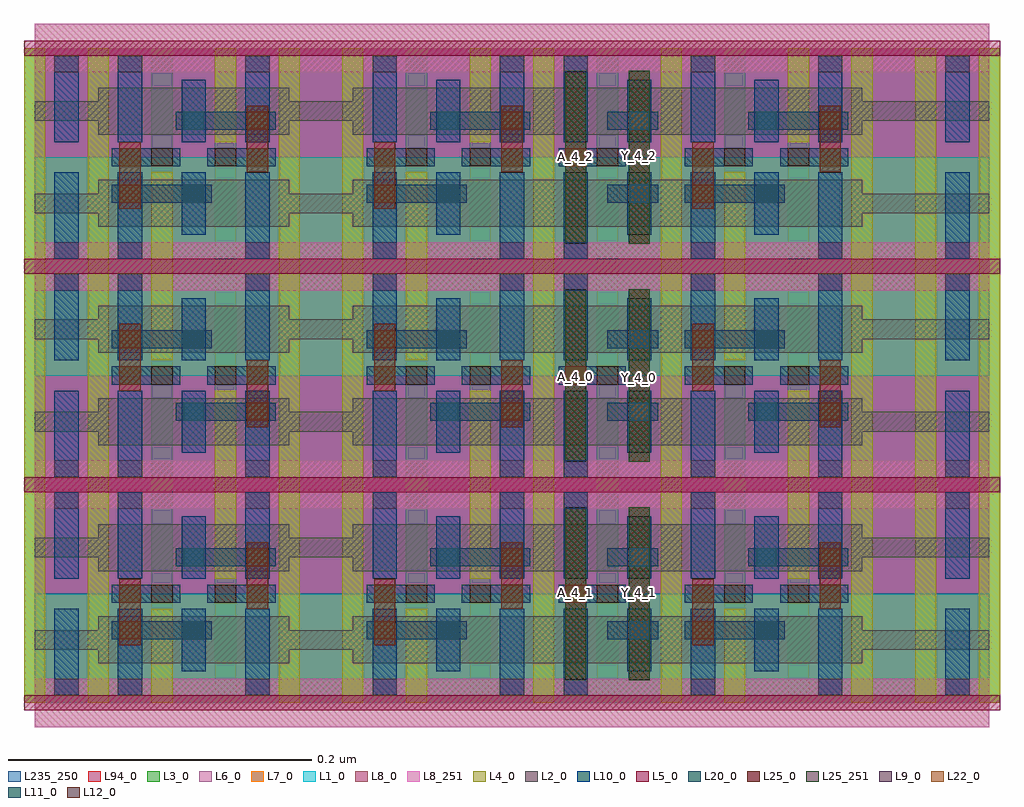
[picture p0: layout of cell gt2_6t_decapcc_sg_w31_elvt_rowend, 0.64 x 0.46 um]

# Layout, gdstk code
import gdstk
lib = gdstk.Library(unit=1e-6, precision=5e-10)
def R(c, l, rs):  # rectangles x0, y0, x1, y1
    for r in rs: c.add(gdstk.rectangle(r[:2], r[2:], *l))
def A(c, l, x, y, w, h, nx, ny, dx, dy):  # array of equal rectangles
    R(c, l, [(x+i*dx, y+j*dy, x+i*dx+w, y+j*dy+h) for i in range(nx) for j in range(ny)])
L1_0 = (1, 0)
L2_0 = (2, 0)
L3_0 = (3, 0)
L4_0 = (4, 0)
L5_0 = (5, 0)
L6_0 = (6, 0)
L7_0 = (7, 0)
L8_0 = (8, 0)
L8_251 = (8, 251)
L9_0 = (9, 0)
L10_0 = (10, 0)
L11_0 = (11, 0)
L12_0 = (12, 0)
L20_0 = (20, 0)
L22_0 = (22, 0)
L25_0 = (25, 0)
L25_251 = (25, 251)
L94_0 = (94, 0)
L235_250 = (235, 250)

gt2_6t_tapbspdn_w13_elvt = lib.new_cell('gt2_6t_tapbspdn_w13_elvt')
R(gt2_6t_tapbspdn_w13_elvt, L1_0, [(0,0.072,0.042,0.144)])
R(gt2_6t_tapbspdn_w13_elvt, L2_0, [(0,0.035,0.042,0.048), (0,0.096,0.042,0.109)])
R(gt2_6t_tapbspdn_w13_elvt, L3_0, [(-0.007,0,0.007,0.144), (0.035,0,0.049,0.144)])
R(gt2_6t_tapbspdn_w13_elvt, L4_0, [(-0.007,0,0.007,0.144), (0.035,0,0.049,0.144)])
R(gt2_6t_tapbspdn_w13_elvt, L5_0, [(-0.007,-0.005,0.049,0.005), (-0.007,0.139,0.049,0.149)])
R(gt2_6t_tapbspdn_w13_elvt, L6_0, [(0,0,0.042,0.072)])
R(gt2_6t_tapbspdn_w13_elvt, L7_0, [(0,0.072,0.042,0.144)])
R(gt2_6t_tapbspdn_w13_elvt, L8_0, [(0,-0.016,0.042,0.016), (0,0.128,0.042,0.16)])
R(gt2_6t_tapbspdn_w13_elvt, L8_251, [(0,-0.016,0.042,0.016), (0,0.128,0.042,0.16)])
R(gt2_6t_tapbspdn_w13_elvt, L9_0, [(0.013,0.005,0.029,0.016), (0.013,0.128,0.029,0.139)])
R(gt2_6t_tapbspdn_w13_elvt, L10_0, [(0.013,0.005,0.029,0.062), (0.013,0.082,0.029,0.139)])
R(gt2_6t_tapbspdn_w13_elvt, L94_0, [(0,0,0.042,0.144)])
R(gt2_6t_tapbspdn_w13_elvt, L235_250, [(0,0,0.042,0.144)])
gt2_6t_tapbspdn_w13_elvt.add(gdstk.Label('vdd', (0.016,0.144), layer=8, texttype=251))
gt2_6t_tapbspdn_w13_elvt.add(gdstk.Label('vss', (0.016,0), layer=8, texttype=251))

gt2_6t_decapcc_sg_w31_el = lib.new_cell('gt2_6t_decapcc_sg_w31_elvt')
R(gt2_6t_decapcc_sg_w31_el, L1_0, [(0,0.072,0.126,0.144)])
R(gt2_6t_decapcc_sg_w31_el, L2_0, [(0,0.026,0.126,0.057), (0,0.087,0.126,0.118)])
A(gt2_6t_decapcc_sg_w31_el, L3_0, -0.007, 0, 0.014, 0.144, 4, 1, 0.042, 0)
R(gt2_6t_decapcc_sg_w31_el, L4_0, [(-0.007,0,0.007,0.144), (0.077,0,0.091,0.062), (0.119,0,0.133,0.144), (0.035,0.082,0.049,0.144)])
R(gt2_6t_decapcc_sg_w31_el, L5_0, [(-0.007,-0.005,0.133,0.005), (-0.007,0.139,0.133,0.149)])
R(gt2_6t_decapcc_sg_w31_el, L6_0, [(0,0,0.126,0.072)])
R(gt2_6t_decapcc_sg_w31_el, L7_0, [(0,0.072,0.126,0.144)])
R(gt2_6t_decapcc_sg_w31_el, L8_0, [(0,-0.016,0.126,0.016), (0,0.128,0.126,0.16)])
R(gt2_6t_decapcc_sg_w31_el, L8_251, [(0,-0.016,0.126,0.016), (0,0.128,0.126,0.16)])
R(gt2_6t_decapcc_sg_w31_el, L9_0, [(0.013,0.005,0.029,0.016), (0.097,0.005,0.113,0.016), (0.013,0.128,0.029,0.139), (0.097,0.128,0.113,0.139)])
R(gt2_6t_decapcc_sg_w31_el, L10_0, [(0.013,0.005,0.029,0.062), (0.097,0.005,0.113,0.062), (0.055,0.021,0.071,0.062), (0.013,0.082,0.029,0.139), (0.055,0.082,0.071,0.123), (0.097,0.082,0.113,0.139)])
R(gt2_6t_decapcc_sg_w31_el, L11_0, [(0.0565,0.042,0.0695,0.054), (0.0565,0.09,0.0695,0.102)])
R(gt2_6t_decapcc_sg_w31_el, L12_0, [(0.035,0.066,0.049,0.078), (0.077,0.066,0.091,0.078)])
R(gt2_6t_decapcc_sg_w31_el, L20_0, [(0.051,0.042,0.117,0.054), (0.009,0.066,0.054,0.078), (0.072,0.066,0.117,0.078), (0.009,0.09,0.075,0.102)])
R(gt2_6t_decapcc_sg_w31_el, L22_0, [(0.098,0.042,0.112,0.054), (0.014,0.066,0.028,0.078), (0.098,0.066,0.112,0.078), (0.014,0.09,0.028,0.102)])
R(gt2_6t_decapcc_sg_w31_el, L25_0, [(0.098,0.038,0.112,0.082), (0.014,0.062,0.028,0.106)])
R(gt2_6t_decapcc_sg_w31_el, L94_0, [(0,0,0.126,0.144)])
R(gt2_6t_decapcc_sg_w31_el, L235_250, [(0,0,0.126,0.144)])
gt2_6t_decapcc_sg_w31_el.add(gdstk.Label('vss', (0.063,0), layer=8, texttype=251))
gt2_6t_decapcc_sg_w31_el.add(gdstk.Label('vdd', (0.063,0.144), layer=8, texttype=251))

gt2_6t_filler_w13_elvt = lib.new_cell('gt2_6t_filler_w13_elvt')
R(gt2_6t_filler_w13_elvt, L1_0, [(0,0.072,0.042,0.144)])
R(gt2_6t_filler_w13_elvt, L2_0, [(0,0.035,0.042,0.048), (0,0.096,0.042,0.109)])
R(gt2_6t_filler_w13_elvt, L3_0, [(-0.007,0,0.007,0.144), (0.035,0,0.049,0.144)])
R(gt2_6t_filler_w13_elvt, L4_0, [(-0.007,0,0.007,0.144), (0.035,0,0.049,0.144)])
R(gt2_6t_filler_w13_elvt, L5_0, [(-0.007,-0.005,0.049,0.005), (-0.007,0.139,0.049,0.149)])
R(gt2_6t_filler_w13_elvt, L6_0, [(0,0,0.042,0.072)])
R(gt2_6t_filler_w13_elvt, L7_0, [(0,0.072,0.042,0.144)])
R(gt2_6t_filler_w13_elvt, L8_0, [(0,-0.016,0.042,0.016), (0,0.128,0.042,0.16)])
R(gt2_6t_filler_w13_elvt, L8_251, [(0,-0.016,0.042,0.016), (0,0.128,0.042,0.16)])
R(gt2_6t_filler_w13_elvt, L94_0, [(0,0,0.042,0.144)])
R(gt2_6t_filler_w13_elvt, L235_250, [(0,0,0.042,0.144)])
gt2_6t_filler_w13_elvt.add(gdstk.Label('vss', (0.016,0), layer=8, texttype=251))
gt2_6t_filler_w13_elvt.add(gdstk.Label('vdd', (0.016,0.144), layer=8, texttype=251))

gt2_6t_inv_x1_w31_elvt = lib.new_cell('gt2_6t_inv_x1_w31_elvt')
R(gt2_6t_inv_x1_w31_elvt, L1_0, [(0,0.072,0.084,0.144)])
R(gt2_6t_inv_x1_w31_elvt, L2_0, [(0,0.026,0.084,0.057), (0,0.087,0.084,0.118)])
A(gt2_6t_inv_x1_w31_elvt, L3_0, -0.007, 0, 0.014, 0.144, 3, 1, 0.042, 0)
R(gt2_6t_inv_x1_w31_elvt, L4_0, [(-0.007,0,0.007,0.144), (0.077,0,0.091,0.144)])
R(gt2_6t_inv_x1_w31_elvt, L5_0, [(-0.007,-0.005,0.091,0.005), (-0.007,0.139,0.091,0.149)])
R(gt2_6t_inv_x1_w31_elvt, L6_0, [(0,0,0.084,0.072)])
R(gt2_6t_inv_x1_w31_elvt, L7_0, [(0,0.072,0.084,0.144)])
R(gt2_6t_inv_x1_w31_elvt, L8_0, [(0,-0.016,0.084,0.016), (0,0.128,0.084,0.16)])
R(gt2_6t_inv_x1_w31_elvt, L8_251, [(0,-0.016,0.084,0.016), (0,0.128,0.084,0.16)])
R(gt2_6t_inv_x1_w31_elvt, L9_0, [(0.013,0.005,0.029,0.016), (0.013,0.128,0.029,0.139)])
R(gt2_6t_inv_x1_w31_elvt, L10_0, [(0.013,0.005,0.029,0.062), (0.055,0.021,0.071,0.062), (0.013,0.082,0.029,0.139), (0.055,0.082,0.071,0.123)])
R(gt2_6t_inv_x1_w31_elvt, L11_0, [(0.0565,0.042,0.0695,0.054), (0.0565,0.09,0.0695,0.102)])
R(gt2_6t_inv_x1_w31_elvt, L12_0, [(0.035,0.066,0.049,0.078)])
R(gt2_6t_inv_x1_w31_elvt, L20_0, [(0.042,0.042,0.0755,0.054), (0.01,0.066,0.054,0.078), (0.042,0.09,0.0755,0.102)])
R(gt2_6t_inv_x1_w31_elvt, L22_0, [(0.056,0.042,0.07,0.054), (0.014,0.066,0.028,0.078), (0.056,0.09,0.07,0.102)])
R(gt2_6t_inv_x1_w31_elvt, L25_0, [(0.014,0.015,0.028,0.129), (0.056,0.015,0.07,0.129)])
R(gt2_6t_inv_x1_w31_elvt, L25_251, [(0.014,0.015,0.028,0.129), (0.056,0.015,0.07,0.129)])
R(gt2_6t_inv_x1_w31_elvt, L94_0, [(0,0,0.084,0.144)])
R(gt2_6t_inv_x1_w31_elvt, L235_250, [(0,0,0.084,0.144)])
gt2_6t_inv_x1_w31_elvt.add(gdstk.Label('vdd', (0.022,0.144), layer=8, texttype=251))
gt2_6t_inv_x1_w31_elvt.add(gdstk.Label('vss', (0.042,0.0035), layer=8, texttype=251))
gt2_6t_inv_x1_w31_elvt.add(gdstk.Label('A', (0.021,0.0715), layer=25, texttype=251))
gt2_6t_inv_x1_w31_elvt.add(gdstk.Label('Y', (0.063,0.071), layer=25, texttype=251))

c_gt2_6t_decapcc_sg_w31_el = lib.new_cell('gt2_6t_decapcc_sg_w31_elvt_rowend')
c_gt2_6t_decapcc_sg_w31_el.add(gdstk.Reference(gt2_6t_tapbspdn_w13_elvt, (0,0)))
c_gt2_6t_decapcc_sg_w31_el.add(gdstk.Reference(gt2_6t_decapcc_sg_w31_el, (0.042,0)))
c_gt2_6t_decapcc_sg_w31_el.add(gdstk.Reference(gt2_6t_filler_w13_elvt, (0.168,0)))
c_gt2_6t_decapcc_sg_w31_el.add(gdstk.Reference(gt2_6t_decapcc_sg_w31_el, (0.21,0)))
c_gt2_6t_decapcc_sg_w31_el.add(gdstk.Reference(gt2_6t_inv_x1_w31_elvt, (0.336,0)))
c_gt2_6t_decapcc_sg_w31_el.add(gdstk.Reference(gt2_6t_decapcc_sg_w31_el, (0.42,0)))
c_gt2_6t_decapcc_sg_w31_el.add(gdstk.Reference(gt2_6t_filler_w13_elvt, (0.546,0)))
c_gt2_6t_decapcc_sg_w31_el.add(gdstk.Reference(gt2_6t_tapbspdn_w13_elvt, (0.588,0)))
c_gt2_6t_decapcc_sg_w31_el.add(gdstk.Reference(gt2_6t_tapbspdn_w13_elvt, (0,0), x_reflection=True))
c_gt2_6t_decapcc_sg_w31_el.add(gdstk.Reference(gt2_6t_decapcc_sg_w31_el, (0.042,0), x_reflection=True))
c_gt2_6t_decapcc_sg_w31_el.add(gdstk.Reference(gt2_6t_filler_w13_elvt, (0.168,0), x_reflection=True))
c_gt2_6t_decapcc_sg_w31_el.add(gdstk.Reference(gt2_6t_decapcc_sg_w31_el, (0.21,0), x_reflection=True))
c_gt2_6t_decapcc_sg_w31_el.add(gdstk.Reference(gt2_6t_inv_x1_w31_elvt, (0.336,0), x_reflection=True))
c_gt2_6t_decapcc_sg_w31_el.add(gdstk.Reference(gt2_6t_decapcc_sg_w31_el, (0.42,0), x_reflection=True))
c_gt2_6t_decapcc_sg_w31_el.add(gdstk.Reference(gt2_6t_filler_w13_elvt, (0.546,0), x_reflection=True))
c_gt2_6t_decapcc_sg_w31_el.add(gdstk.Reference(gt2_6t_tapbspdn_w13_elvt, (0.588,0), x_reflection=True))
c_gt2_6t_decapcc_sg_w31_el.add(gdstk.Reference(gt2_6t_tapbspdn_w13_elvt, (0,0.288), x_reflection=True))
c_gt2_6t_decapcc_sg_w31_el.add(gdstk.Reference(gt2_6t_decapcc_sg_w31_el, (0.042,0.288), x_reflection=True))
c_gt2_6t_decapcc_sg_w31_el.add(gdstk.Reference(gt2_6t_filler_w13_elvt, (0.168,0.288), x_reflection=True))
c_gt2_6t_decapcc_sg_w31_el.add(gdstk.Reference(gt2_6t_decapcc_sg_w31_el, (0.21,0.288), x_reflection=True))
c_gt2_6t_decapcc_sg_w31_el.add(gdstk.Reference(gt2_6t_inv_x1_w31_elvt, (0.336,0.288), x_reflection=True))
c_gt2_6t_decapcc_sg_w31_el.add(gdstk.Reference(gt2_6t_decapcc_sg_w31_el, (0.42,0.288), x_reflection=True))
c_gt2_6t_decapcc_sg_w31_el.add(gdstk.Reference(gt2_6t_filler_w13_elvt, (0.546,0.288), x_reflection=True))
c_gt2_6t_decapcc_sg_w31_el.add(gdstk.Reference(gt2_6t_tapbspdn_w13_elvt, (0.588,0.288), x_reflection=True))
c_gt2_6t_decapcc_sg_w31_el.add(gdstk.Label('A_4_0', (0.357,0.0715), layer=25, texttype=251))
c_gt2_6t_decapcc_sg_w31_el.add(gdstk.Label('Y_4_0', (0.399,0.071), layer=25, texttype=251))
c_gt2_6t_decapcc_sg_w31_el.add(gdstk.Label('A_4_1', (0.357,-0.0715), layer=25, texttype=251))
c_gt2_6t_decapcc_sg_w31_el.add(gdstk.Label('Y_4_1', (0.399,-0.071), layer=25, texttype=251))
c_gt2_6t_decapcc_sg_w31_el.add(gdstk.Label('A_4_2', (0.357,0.2165), layer=25, texttype=251))
c_gt2_6t_decapcc_sg_w31_el.add(gdstk.Label('Y_4_2', (0.399,0.217), layer=25, texttype=251))

lib.write_gds('gt2_6t_decapcc_sg_w31_elvt_rowend.gds')
